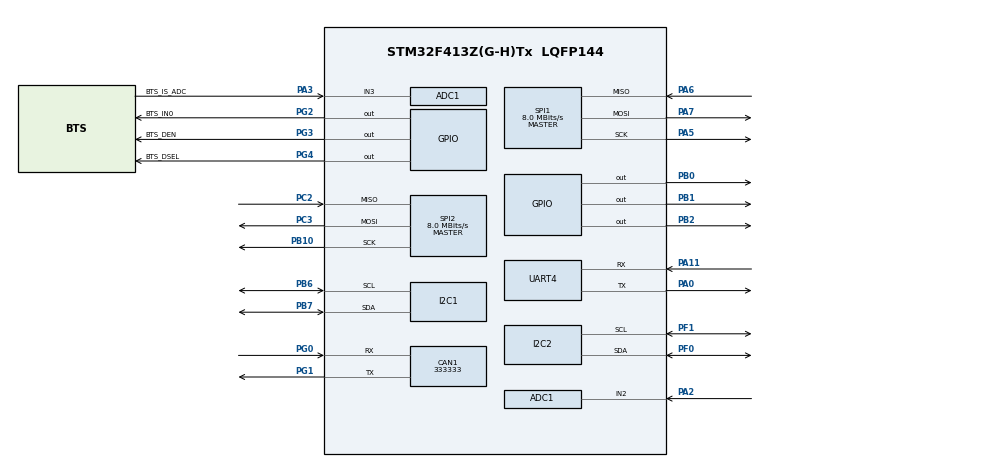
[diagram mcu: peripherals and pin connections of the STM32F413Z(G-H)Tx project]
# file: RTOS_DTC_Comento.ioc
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ADC1.Channel-2\#ChannelRegularConversion=ADC_CHANNEL_2
ADC1.Channel-3\#ChannelRegularConversion=ADC_CHANNEL_3
ADC1.NbrOfConversion=2
ADC1.NbrOfConversionFlag=1
ADC1.Rank-2\#ChannelRegularConversion=1
ADC1.Rank-3\#ChannelRegularConversion=2
ADC1.SamplingTime-2\#ChannelRegularConversion=ADC_SAMPLETIME_3CYCLES
ADC1.SamplingTime-3\#ChannelRegularConversion=ADC_SAMPLETIME_3CYCLES
ADC1.master=1
CAN1.CalculateBaudRate=333333
CAN1.CalculateTimeBit=3000
CAN1.CalculateTimeQuantum=1000.0
Dma.I2C1_RX.0.Direction=DMA_PERIPH_TO_MEMORY
Dma.I2C1_RX.0.FIFOMode=DMA_FIFOMODE_DISABLE
Dma.I2C1_RX.0.Instance=DMA1_Stream0
Dma.I2C1_RX.0.MemDataAlignment=DMA_MDATAALIGN_BYTE
Dma.I2C1_RX.0.MemInc=DMA_MINC_ENABLE
Dma.I2C1_RX.0.Mode=DMA_NORMAL
Dma.I2C1_RX.0.PeriphDataAlignment=DMA_PDATAALIGN_BYTE
Dma.I2C1_RX.0.PeriphInc=DMA_PINC_DISABLE
Dma.I2C1_RX.0.Priority=DMA_PRIORITY_MEDIUM
Dma.I2C1_TX.1.Direction=DMA_MEMORY_TO_PERIPH
Dma.I2C1_TX.1.FIFOMode=DMA_FIFOMODE_DISABLE
Dma.I2C1_TX.1.Instance=DMA1_Stream6
Dma.I2C1_TX.1.MemDataAlignment=DMA_MDATAALIGN_BYTE
Dma.I2C1_TX.1.MemInc=DMA_MINC_ENABLE
Dma.I2C1_TX.1.Mode=DMA_NORMAL
Dma.I2C1_TX.1.PeriphDataAlignment=DMA_PDATAALIGN_BYTE
Dma.I2C1_TX.1.PeriphInc=DMA_PINC_DISABLE
Dma.I2C1_TX.1.Priority=DMA_PRIORITY_MEDIUM
Dma.I2C2_RX.2.Direction=DMA_PERIPH_TO_MEMORY
Dma.I2C2_RX.2.FIFOMode=DMA_FIFOMODE_DISABLE
Dma.I2C2_RX.2.Instance=DMA1_Stream2
Dma.I2C2_RX.2.MemDataAlignment=DMA_MDATAALIGN_BYTE
Dma.I2C2_RX.2.MemInc=DMA_MINC_ENABLE
Dma.I2C2_RX.2.Mode=DMA_NORMAL
Dma.I2C2_RX.2.PeriphDataAlignment=DMA_PDATAALIGN_BYTE
Dma.I2C2_RX.2.PeriphInc=DMA_PINC_DISABLE
Dma.I2C2_RX.2.Priority=DMA_PRIORITY_LOW
Dma.I2C2_TX.3.Direction=DMA_MEMORY_TO_PERIPH
Dma.I2C2_TX.3.FIFOMode=DMA_FIFOMODE_DISABLE
Dma.I2C2_TX.3.Instance=DMA1_Stream7
Dma.I2C2_TX.3.MemDataAlignment=DMA_MDATAALIGN_BYTE
Dma.I2C2_TX.3.MemInc=DMA_MINC_ENABLE
Dma.I2C2_TX.3.Mode=DMA_NORMAL
Dma.I2C2_TX.3.PeriphDataAlignment=DMA_PDATAALIGN_BYTE
Dma.I2C2_TX.3.PeriphInc=DMA_PINC_DISABLE
Dma.I2C2_TX.3.Priority=DMA_PRIORITY_LOW
Dma.Request0=I2C1_RX
Dma.Request1=I2C1_TX
Dma.Request2=I2C2_RX
Dma.Request3=I2C2_TX
Dma.Request4=SPI1_RX
Dma.Request5=SPI1_TX
Dma.Request6=SPI2_RX
Dma.Request7=SPI2_TX
Dma.SPI1_RX.4.Direction=DMA_PERIPH_TO_MEMORY
Dma.SPI1_RX.4.FIFOMode=DMA_FIFOMODE_DISABLE
Dma.SPI1_RX.4.Instance=DMA2_Stream0
Dma.SPI1_RX.4.MemDataAlignment=DMA_MDATAALIGN_BYTE
Dma.SPI1_RX.4.MemInc=DMA_MINC_ENABLE
Dma.SPI1_RX.4.Mode=DMA_NORMAL
Dma.SPI1_RX.4.PeriphDataAlignment=DMA_PDATAALIGN_BYTE
Dma.SPI1_RX.4.PeriphInc=DMA_PINC_DISABLE
Dma.SPI1_RX.4.Priority=DMA_PRIORITY_LOW
Dma.SPI1_TX.5.Direction=DMA_MEMORY_TO_PERIPH
Dma.SPI1_TX.5.FIFOMode=DMA_FIFOMODE_DISABLE
Dma.SPI1_TX.5.Instance=DMA2_Stream3
Dma.SPI1_TX.5.MemDataAlignment=DMA_MDATAALIGN_BYTE
Dma.SPI1_TX.5.MemInc=DMA_MINC_ENABLE
Dma.SPI1_TX.5.Mode=DMA_NORMAL
Dma.SPI1_TX.5.PeriphDataAlignment=DMA_PDATAALIGN_BYTE
Dma.SPI1_TX.5.PeriphInc=DMA_PINC_DISABLE
Dma.SPI1_TX.5.Priority=DMA_PRIORITY_LOW
Dma.SPI2_RX.6.Direction=DMA_PERIPH_TO_MEMORY
Dma.SPI2_RX.6.FIFOMode=DMA_FIFOMODE_DISABLE
Dma.SPI2_RX.6.Instance=DMA1_Stream3
Dma.SPI2_RX.6.MemDataAlignment=DMA_MDATAALIGN_BYTE
Dma.SPI2_RX.6.MemInc=DMA_MINC_ENABLE
Dma.SPI2_RX.6.Mode=DMA_NORMAL
Dma.SPI2_RX.6.PeriphDataAlignment=DMA_PDATAALIGN_BYTE
Dma.SPI2_RX.6.PeriphInc=DMA_PINC_DISABLE
Dma.SPI2_RX.6.Priority=DMA_PRIORITY_LOW
Dma.SPI2_TX.7.Direction=DMA_MEMORY_TO_PERIPH
Dma.SPI2_TX.7.FIFOMode=DMA_FIFOMODE_DISABLE
Dma.SPI2_TX.7.Instance=DMA1_Stream4
Dma.SPI2_TX.7.MemDataAlignment=DMA_MDATAALIGN_BYTE
Dma.SPI2_TX.7.MemInc=DMA_MINC_ENABLE
Dma.SPI2_TX.7.Mode=DMA_NORMAL
Dma.SPI2_TX.7.PeriphDataAlignment=DMA_PDATAALIGN_BYTE
Dma.SPI2_TX.7.PeriphInc=DMA_PINC_DISABLE
Dma.SPI2_TX.7.Priority=DMA_PRIORITY_LOW
FREERTOS.Tasks01=Task_1ms,32,256,StartTask_1ms,Default,NULL,Dynamic,NULL,NULL;Task_5ms,24,256,StartTask_5ms,Default,NULL,Dynamic,NULL,NULL
FREERTOS.configUSE_NEWLIB_REENTRANT=1
Mcu.Family=STM32F4
Mcu.Name=STM32F413Z(G-H)Tx
Mcu.Package=LQFP144
NVIC.CAN1_RX0_IRQn=true\:5\:0\:false\:false\:true\:true\:true\:true\:true
NVIC.CAN1_TX_IRQn=true\:5\:0\:false\:false\:true\:true\:true\:true\:true
NVIC.DMA1_Stream0_IRQn=true\:5\:0\:false\:false\:true\:true\:false\:true\:true
NVIC.DMA1_Stream2_IRQn=true\:5\:0\:false\:false\:true\:true\:false\:true\:true
NVIC.DMA1_Stream3_IRQn=true\:5\:0\:false\:false\:true\:true\:false\:true\:true
NVIC.DMA1_Stream4_IRQn=true\:5\:0\:false\:false\:true\:true\:false\:true\:true
NVIC.DMA1_Stream6_IRQn=true\:5\:0\:false\:false\:true\:true\:false\:true\:true
NVIC.DMA1_Stream7_IRQn=true\:5\:0\:false\:false\:true\:true\:false\:true\:true
NVIC.DMA2_Stream0_IRQn=true\:5\:0\:false\:false\:true\:true\:false\:true\:true
NVIC.DMA2_Stream3_IRQn=true\:5\:0\:false\:false\:true\:true\:false\:true\:true
NVIC.I2C1_ER_IRQn=true\:5\:0\:false\:false\:true\:true\:true\:true\:true
NVIC.I2C1_EV_IRQn=true\:5\:0\:false\:false\:true\:true\:true\:true\:true
NVIC.I2C2_EV_IRQn=true\:5\:0\:false\:false\:true\:true\:true\:true\:true
NVIC.PriorityGroup=NVIC_PRIORITYGROUP_4
NVIC.SPI1_IRQn=true\:5\:0\:false\:false\:true\:true\:true\:true\:true
NVIC.SPI2_IRQn=true\:5\:0\:false\:false\:true\:true\:true\:true\:true
NVIC.TIM6_DAC_IRQn=true\:15\:0\:false\:false\:true\:false\:false\:true\:true
NVIC.TimeBase=TIM6_DAC_IRQn
NVIC.TimeBaseIP=TIM6
NVIC.UART4_IRQn=true\:5\:0\:false\:false\:true\:true\:true\:true\:true
PA0.Mode=Asynchronous
PA0.Signal=UART4_TX
PA11.Mode=Asynchronous
PA11.Signal=UART4_RX
PA2.Signal=ADCx_IN2
PA3.GPIO_Label=BTS_IS_ADC
PA3.Signal=ADCx_IN3
PA5.Mode=Full_Duplex_Master
PA5.Signal=SPI1_SCK
PA6.Mode=Full_Duplex_Master
PA6.Signal=SPI1_MISO
PA7.Mode=Full_Duplex_Master
PA7.Signal=SPI1_MOSI
PB0.GPIO_Speed=GPIO_SPEED_FREQ_MEDIUM
PB0.PinState=GPIO_PIN_SET
PB0.Signal=GPIO_Output
PB1.GPIO_Speed=GPIO_SPEED_FREQ_MEDIUM
PB1.PinState=GPIO_PIN_SET
PB1.Signal=GPIO_Output
PB10.Mode=Full_Duplex_Master
PB10.Signal=SPI2_SCK
PB2.GPIO_ModeDefaultOutputPP=GPIO_MODE_OUTPUT_OD
PB2.GPIO_PuPd=GPIO_NOPULL
PB2.GPIO_Speed=GPIO_SPEED_FREQ_MEDIUM
PB2.PinState=GPIO_PIN_SET
PB2.Signal=GPIO_Output
PB6.Mode=I2C
PB6.Signal=I2C1_SCL
PB7.Mode=I2C
PB7.Signal=I2C1_SDA
PC2.Mode=Full_Duplex_Master
PC2.Signal=SPI2_MISO
PC3.Mode=Full_Duplex_Master
PC3.Signal=SPI2_MOSI
PF0.Mode=I2C
PF0.Signal=I2C2_SDA
PF1.Mode=I2C
PF1.Signal=I2C2_SCL
PG0.Mode=CAN_Activate
PG0.Signal=CAN1_RX
PG1.Mode=CAN_Activate
PG1.Signal=CAN1_TX
PG2.GPIO_Label=BTS_IN0
PG2.Signal=GPIO_Output
PG3.GPIO_Label=BTS_DEN
PG3.Signal=GPIO_Output
PG4.GPIO_Label=BTS_DSEL
PG4.Signal=GPIO_Output
ProjectManager.HeapSize=0x200
ProjectManager.StackSize=0x400
ProjectManager.TargetToolchain=STM32CubeIDE
RCC.CortexFreq_Value=16000000
RCC.USBFreq_Value=96000000
RCC.VCOOutputFreq_Value=192000000
SH.ADCx_IN2.0=ADC1_IN2,IN2
SH.ADCx_IN3.0=ADC1_IN3,IN3
SPI1.CalculateBaudRate=8.0 MBits/s
SPI1.Direction=SPI_DIRECTION_2LINES
SPI1.Mode=SPI_MODE_MASTER
SPI1.VirtualType=VM_MASTER
SPI2.CalculateBaudRate=8.0 MBits/s
SPI2.Direction=SPI_DIRECTION_2LINES
SPI2.Mode=SPI_MODE_MASTER
SPI2.VirtualType=VM_MASTER
UART4.VirtualMode=Asynchronous
VP_FREERTOS_VS_CMSIS_V2.Mode=CMSIS_V2
VP_SYS_VS_tim6.Mode=TIM6
board=custom

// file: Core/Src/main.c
/* USER CODE BEGIN Header */
/**
  ******************************************************************************
  * @file           : main.c
  * @brief          : Main program body
  ******************************************************************************
  * @attention
  *
  * <h2><center>&copy; Copyright (c) 2025 STMicroelectronics.
  * All rights reserved.</center></h2>
  *
  * This software component is licensed by ST under BSD 3-Clause license,
  * the "License"; You may not use this file except in compliance with the
  * License. You may obtain a copy of the License at:
  *                        opensource.org/licenses/BSD-3-Clause
  *
  ******************************************************************************
  */

/* USER CODE END Header */
#include "main.h"
#include "cmsis_os.h"

/* USER CODE BEGIN Includes */
#include <string.h>
#include "PMIC.h"
#include "DTC.h"
#include "EEPROM.h"
#include "OBD2UDS.h"
#include "TestCase.h"
/* USER CODE END Includes */

/* USER CODE BEGIN PD */
#define PMIC_CH1_UVLO_ADC  1117U  /* 0.9V, 3.3V 기준 */
#define PMIC_CH1_OV_ADC    1365U  /* 1.1V */

/* USER CODE END PD */

/* USER CODE BEGIN PM */

//#define CAN_Q_SIZE 8
/* USER CODE END PM */

ADC_HandleTypeDef hadc1;

CAN_HandleTypeDef hcan1;

I2C_HandleTypeDef hi2c1;
I2C_HandleTypeDef hi2c2;
DMA_HandleTypeDef hdma_i2c1_rx;
DMA_HandleTypeDef hdma_i2c1_tx;
DMA_HandleTypeDef hdma_i2c2_rx;
DMA_HandleTypeDef hdma_i2c2_tx;

SPI_HandleTypeDef hspi1;
SPI_HandleTypeDef hspi2;
DMA_HandleTypeDef hdma_spi1_rx;
DMA_HandleTypeDef hdma_spi1_tx;
DMA_HandleTypeDef hdma_spi2_rx;
DMA_HandleTypeDef hdma_spi2_tx;

UART_HandleTypeDef huart4;

/* Definitions for defaultTask */
osThreadId_t defaultTaskHandle;
const osThreadAttr_t defaultTask_attributes = {
  .name = "defaultTask",
  .stack_size = 128 * 4,
  .priority = (osPriority_t) osPriorityNormal,
};
/* USER CODE BEGIN PV */
osMutexId_t CommMutexHandle;
const osMutexAttr_t CommMutex_attributes = {
  .name = "CommMutex"
};
osThreadId_t Task_1msHandle;
const osThreadAttr_t Task_1ms_attributes = {
  .name = "Task_1ms",
  .stack_size = 256 * 4,
  .priority = (osPriority_t) osPriorityAboveNormal,
};
osThreadId_t Task_5msHandle;
const osThreadAttr_t Task_5ms_attributes = {
  .name = "Task_5ms",
  .stack_size = 256 * 4,
  .priority = (osPriority_t) osPriorityNormal,
};

osSemaphoreId_t spiDoneHandle;
osSemaphoreId_t i2cDoneHandle;
const osSemaphoreAttr_t spiDone_attributes = { .name = "spiDone" };
const osSemaphoreAttr_t i2cDone_attributes = { .name = "i2cDone" };

/* USER CODE END PV */

void SystemClock_Config(void);
static void MX_GPIO_Init(void);
static void MX_DMA_Init(void);
static void MX_ADC1_Init(void);
static void MX_CAN1_Init(void);
static void MX_I2C1_Init(void);
static void MX_I2C2_Init(void);
static void MX_SPI1_Init(void);
static void MX_SPI2_Init(void);
static void MX_UART4_Init(void);
void StartDefaultTask(void *argument);
void StartTask_1ms(void *argument);
void StartTask_5ms(void *argument);

int main(void)
{

  /* MCU Configuration--------------------------------------------------------*/

  /* Reset of all peripherals, Initializes the Flash interface and the Systick. */
  HAL_Init();

  /* Configure the system clock */
  SystemClock_Config();

  /* Initialize all configured peripherals */
  MX_GPIO_Init();
  MX_DMA_Init();
  MX_ADC1_Init();
  MX_CAN1_Init();
  MX_I2C1_Init();
  MX_I2C2_Init();
  MX_SPI1_Init();
  MX_SPI2_Init();
  MX_UART4_Init();
  /* USER CODE BEGIN 2 */

  //CAN 인터럽트 시작
  HAL_CAN_Start(&hcan1);
  HAL_CAN_ActivateNotification(&hcan1, CAN_IT_RX_FIFO0_MSG_PENDING);

#if TEST_CASE
  TestCase_RunAll();
#else
  //전원이 꺼지기 전 EEPROM에 저장된 DTC 정보 읽기
  EEPROM_ReadDTC();
  dtclst[UVinDTC].DTC_Code = UV;
  dtclst[OVinDTC].DTC_Code = OV;
  dtclst[OCinDTC].DTC_Code = OC;
  dtclst[BRAKE_UVLOinDTC].DTC_Code = BRAKE_UVLO;
  if (dtclst[BRAKE_UVLOinDTC].active != 1) {
    dtclst[BRAKE_UVLOinDTC].active = 0;
  }
  //PMIC의 VREF 값 설정
  PMIC_Vref_Change(v_ref_set);
  /* USER CODE END 2 */

  /* Init scheduler */
  osKernelInitialize();
#endif
  /* USER CODE BEGIN RTOS_MUTEX */
  /* add mutexes, ... */
  CommMutexHandle = osMutexNew(&CommMutex_attributes);
  /* USER CODE END RTOS_MUTEX */

  /* USER CODE BEGIN RTOS_SEMAPHORES */
  /* add semaphores, ... */

  spiDoneHandle = osSemaphoreNew(1, 0, &spiDone_attributes);
  i2cDoneHandle = osSemaphoreNew(1, 0, &i2cDone_attributes);
  /* USER CODE END RTOS_SEMAPHORES */

  /* Create the thread(s) */
  /* creation of defaultTask */
  //defaultTaskHandle = osThreadNew(StartDefaultTask, NULL, &defaultTask_attributes);
  Task_1msHandle = osThreadNew(StartTask_1ms, NULL, &Task_1ms_attributes);
  Task_5msHandle = osThreadNew(StartTask_5ms, NULL, &Task_5ms_attributes);

  /* Start scheduler */
  osKernelStart();

  /* We should never get here as control is now taken by the scheduler */

  /* Infinite loop */
  /* USER CODE BEGIN WHILE */
	//msg1은 고장이 없을때 UART 출력, msg2는 고장이 있을때 UART 출력

  while (1)
  {

    /* USER CODE END WHILE */

  }
}

void SystemClock_Config(void)
{
  RCC_OscInitTypeDef RCC_OscInitStruct = {0};
  RCC_ClkInitTypeDef RCC_ClkInitStruct = {0};

  /** Configure the main internal regulator output voltage
  */
  __HAL_RCC_PWR_CLK_ENABLE();
  __HAL_PWR_VOLTAGESCALING_CONFIG(PWR_REGULATOR_VOLTAGE_SCALE1);

  /** Initializes the RCC Oscillators according to the specified parameters
  * in the RCC_OscInitTypeDef structure.
  */
  RCC_OscInitStruct.OscillatorType = RCC_OSCILLATORTYPE_HSI;
  RCC_OscInitStruct.HSIState = RCC_HSI_ON;
  RCC_OscInitStruct.HSICalibrationValue = RCC_HSICALIBRATION_DEFAULT;
  RCC_OscInitStruct.PLL.PLLState = RCC_PLL_NONE;
  if (HAL_RCC_OscConfig(&RCC_OscInitStruct) != HAL_OK)
  {
    Error_Handler();
  }

  /** Initializes the CPU, AHB and APB buses clocks
  */
  RCC_ClkInitStruct.ClockType = RCC_CLOCKTYPE_HCLK|RCC_CLOCKTYPE_SYSCLK
                              |RCC_CLOCKTYPE_PCLK1|RCC_CLOCKTYPE_PCLK2;
  RCC_ClkInitStruct.SYSCLKSource = RCC_SYSCLKSOURCE_HSI;
  RCC_ClkInitStruct.AHBCLKDivider = RCC_SYSCLK_DIV1;
  RCC_ClkInitStruct.APB1CLKDivider = RCC_HCLK_DIV1;
  RCC_ClkInitStruct.APB2CLKDivider = RCC_HCLK_DIV1;

  if (HAL_RCC_ClockConfig(&RCC_ClkInitStruct, FLASH_LATENCY_0) != HAL_OK)
  {
    Error_Handler();
  }
}

static void MX_ADC1_Init(void)
{

  ADC_ChannelConfTypeDef sConfig = {0};

  /** Configure the global features of the ADC (Clock, Resolution, Data Alignment and number of conversion)
  */
  hadc1.Instance = ADC1;
  hadc1.Init.ClockPrescaler = ADC_CLOCK_SYNC_PCLK_DIV2;
  hadc1.Init.Resolution = ADC_RESOLUTION_12B;
  hadc1.Init.ScanConvMode = DISABLE;
  hadc1.Init.ContinuousConvMode = DISABLE;
  hadc1.Init.DiscontinuousConvMode = DISABLE;
  hadc1.Init.ExternalTrigConvEdge = ADC_EXTERNALTRIGCONVEDGE_NONE;
  hadc1.Init.ExternalTrigConv = ADC_SOFTWARE_START;
  hadc1.Init.DataAlign = ADC_DATAALIGN_RIGHT;
  hadc1.Init.NbrOfConversion = 1;
  hadc1.Init.DMAContinuousRequests = DISABLE;
  hadc1.Init.EOCSelection = ADC_EOC_SINGLE_CONV;
  if (HAL_ADC_Init(&hadc1) != HAL_OK)
  {
    Error_Handler();
  }

  /** Configure for the selected ADC regular channel its corresponding rank in the sequencer and its sample time.
  */
  sConfig.Channel = ADC_CHANNEL_2;
  sConfig.Rank = 1;
  sConfig.SamplingTime = ADC_SAMPLETIME_3CYCLES;
  if (HAL_ADC_ConfigChannel(&hadc1, &sConfig) != HAL_OK)
  {
    Error_Handler();
  }

}

static void MX_CAN1_Init(void)
{

  hcan1.Instance = CAN1;
  hcan1.Init.Prescaler = 16;
  hcan1.Init.Mode = CAN_MODE_NORMAL;
  hcan1.Init.SyncJumpWidth = CAN_SJW_1TQ;
  hcan1.Init.TimeSeg1 = CAN_BS1_1TQ;
  hcan1.Init.TimeSeg2 = CAN_BS2_1TQ;
  hcan1.Init.TimeTriggeredMode = DISABLE;
  hcan1.Init.AutoBusOff = DISABLE;
  hcan1.Init.AutoWakeUp = DISABLE;
  hcan1.Init.AutoRetransmission = DISABLE;
  hcan1.Init.ReceiveFifoLocked = DISABLE;
  hcan1.Init.TransmitFifoPriority = DISABLE;
  if (HAL_CAN_Init(&hcan1) != HAL_OK)
  {
    Error_Handler();
  }
  /* USER CODE BEGIN CAN1_Init 2 */

  // 필터에 해당하는 메시지만 수신 하도록 초기화
  CAN_FilterTypeDef f = {0};
  f.FilterBank = 0;
  f.FilterMode = CAN_FILTERMODE_IDMASK;
  f.FilterScale = CAN_FILTERSCALE_32BIT;
  f.FilterIdHigh = 0x0000;
  f.FilterIdLow  = 0x0000;
  f.FilterMaskIdHigh = 0x0000;  /* 마스크 0 = 전부 통과 */
  f.FilterMaskIdLow  = 0x0000;
  f.FilterFIFOAssignment = CAN_RX_FIFO0;
  f.FilterActivation = ENABLE;
  f.SlaveStartFilterBank = 14;
  HAL_CAN_ConfigFilter(&hcan1, &f);
  /* USER CODE END CAN1_Init 2 */

}

static void MX_I2C1_Init(void)
{

  hi2c1.Instance = I2C1;
  hi2c1.Init.ClockSpeed = 100000;
  hi2c1.Init.DutyCycle = I2C_DUTYCYCLE_2;
  hi2c1.Init.OwnAddress1 = 0;
  hi2c1.Init.AddressingMode = I2C_ADDRESSINGMODE_7BIT;
  hi2c1.Init.DualAddressMode = I2C_DUALADDRESS_DISABLE;
  hi2c1.Init.OwnAddress2 = 0;
  hi2c1.Init.GeneralCallMode = I2C_GENERALCALL_DISABLE;
  hi2c1.Init.NoStretchMode = I2C_NOSTRETCH_DISABLE;
  if (HAL_I2C_Init(&hi2c1) != HAL_OK)
  {
    Error_Handler();
  }

}

static void MX_I2C2_Init(void)
{

  hi2c2.Instance = I2C2;
  hi2c2.Init.ClockSpeed = 100000;
  hi2c2.Init.DutyCycle = I2C_DUTYCYCLE_2;
  hi2c2.Init.OwnAddress1 = 0;
  hi2c2.Init.AddressingMode = I2C_ADDRESSINGMODE_7BIT;
  hi2c2.Init.DualAddressMode = I2C_DUALADDRESS_DISABLE;
  hi2c2.Init.OwnAddress2 = 0;
  hi2c2.Init.GeneralCallMode = I2C_GENERALCALL_DISABLE;
  hi2c2.Init.NoStretchMode = I2C_NOSTRETCH_DISABLE;
  if (HAL_I2C_Init(&hi2c2) != HAL_OK)
  {
    Error_Handler();
  }

}

static void MX_SPI1_Init(void)
{

  /* SPI1 parameter configuration*/
  hspi1.Instance = SPI1;
  hspi1.Init.Mode = SPI_MODE_MASTER;
  hspi1.Init.Direction = SPI_DIRECTION_2LINES;
  hspi1.Init.DataSize = SPI_DATASIZE_8BIT;
  hspi1.Init.CLKPolarity = SPI_POLARITY_LOW;
  hspi1.Init.CLKPhase = SPI_PHASE_1EDGE;
  hspi1.Init.NSS = SPI_NSS_SOFT;
  hspi1.Init.BaudRatePrescaler = SPI_BAUDRATEPRESCALER_2;
  hspi1.Init.FirstBit = SPI_FIRSTBIT_MSB;
  hspi1.Init.TIMode = SPI_TIMODE_DISABLE;
  hspi1.Init.CRCCalculation = SPI_CRCCALCULATION_DISABLE;
  hspi1.Init.CRCPolynomial = 10;
  if (HAL_SPI_Init(&hspi1) != HAL_OK)
  {
    Error_Handler();
  }

}

static void MX_SPI2_Init(void)
{

  /* SPI2 parameter configuration*/
  hspi2.Instance = SPI2;
  hspi2.Init.Mode = SPI_MODE_MASTER;
  hspi2.Init.Direction = SPI_DIRECTION_2LINES;
  hspi2.Init.DataSize = SPI_DATASIZE_8BIT;
  hspi2.Init.CLKPolarity = SPI_POLARITY_LOW;
  hspi2.Init.CLKPhase = SPI_PHASE_1EDGE;
  hspi2.Init.NSS = SPI_NSS_SOFT;
  hspi2.Init.BaudRatePrescaler = SPI_BAUDRATEPRESCALER_2;
  hspi2.Init.FirstBit = SPI_FIRSTBIT_MSB;
  hspi2.Init.TIMode = SPI_TIMODE_DISABLE;
  hspi2.Init.CRCCalculation = SPI_CRCCALCULATION_DISABLE;
  hspi2.Init.CRCPolynomial = 10;
  if (HAL_SPI_Init(&hspi2) != HAL_OK)
  {
    Error_Handler();
  }

}

static void MX_UART4_Init(void)
{

  huart4.Instance = UART4;
  huart4.Init.BaudRate = 115200;
  huart4.Init.WordLength = UART_WORDLENGTH_8B;
  huart4.Init.StopBits = UART_STOPBITS_1;
  huart4.Init.Parity = UART_PARITY_NONE;
  huart4.Init.Mode = UART_MODE_TX_RX;
  huart4.Init.HwFlowCtl = UART_HWCONTROL_NONE;
  huart4.Init.OverSampling = UART_OVERSAMPLING_16;
  if (HAL_UART_Init(&huart4) != HAL_OK)
  {
    Error_Handler();
  }

}

static void MX_DMA_Init(void)
{

  /* DMA controller clock enable */
  __HAL_RCC_DMA1_CLK_ENABLE();
  __HAL_RCC_DMA2_CLK_ENABLE();

  /* DMA interrupt init */
  /* DMA1_Stream0_IRQn interrupt configuration */
  HAL_NVIC_SetPriority(DMA1_Stream0_IRQn, 5, 0);
  HAL_NVIC_EnableIRQ(DMA1_Stream0_IRQn);
  /* DMA1_Stream2_IRQn interrupt configuration */
  HAL_NVIC_SetPriority(DMA1_Stream2_IRQn, 5, 0);
  HAL_NVIC_EnableIRQ(DMA1_Stream2_IRQn);
  /* DMA1_Stream3_IRQn interrupt configuration */
  HAL_NVIC_SetPriority(DMA1_Stream3_IRQn, 5, 0);
  HAL_NVIC_EnableIRQ(DMA1_Stream3_IRQn);
  /* DMA1_Stream4_IRQn interrupt configuration */
  HAL_NVIC_SetPriority(DMA1_Stream4_IRQn, 5, 0);
  HAL_NVIC_EnableIRQ(DMA1_Stream4_IRQn);
  /* DMA1_Stream6_IRQn interrupt configuration */
  HAL_NVIC_SetPriority(DMA1_Stream6_IRQn, 5, 0);
  HAL_NVIC_EnableIRQ(DMA1_Stream6_IRQn);
  /* DMA1_Stream7_IRQn interrupt configuration */
  HAL_NVIC_SetPriority(DMA1_Stream7_IRQn, 5, 0);
  HAL_NVIC_EnableIRQ(DMA1_Stream7_IRQn);
  /* DMA2_Stream0_IRQn interrupt configuration */
  HAL_NVIC_SetPriority(DMA2_Stream0_IRQn, 5, 0);
  HAL_NVIC_EnableIRQ(DMA2_Stream0_IRQn);
  /* DMA2_Stream3_IRQn interrupt configuration */
  HAL_NVIC_SetPriority(DMA2_Stream3_IRQn, 5, 0);
  HAL_NVIC_EnableIRQ(DMA2_Stream3_IRQn);

}

static void MX_GPIO_Init(void)
{
  GPIO_InitTypeDef GPIO_InitStruct = {0};

  /* GPIO Ports Clock Enable */
  __HAL_RCC_GPIOF_CLK_ENABLE();
  __HAL_RCC_GPIOC_CLK_ENABLE();
  __HAL_RCC_GPIOA_CLK_ENABLE();
  __HAL_RCC_GPIOB_CLK_ENABLE();
  __HAL_RCC_GPIOG_CLK_ENABLE();

  /*Configure GPIO pin Output Level */
  HAL_GPIO_WritePin(GPIOB, GPIO_PIN_0|GPIO_PIN_1|GPIO_PIN_2, GPIO_PIN_SET);

  /*Configure GPIO pins : PB0 PB1 */
  GPIO_InitStruct.Pin = GPIO_PIN_0|GPIO_PIN_1;
  GPIO_InitStruct.Mode = GPIO_MODE_OUTPUT_PP;
  GPIO_InitStruct.Pull = GPIO_NOPULL;
  GPIO_InitStruct.Speed = GPIO_SPEED_FREQ_MEDIUM;
  HAL_GPIO_Init(GPIOB, &GPIO_InitStruct);

  /*Configure GPIO pin : PB2 */
  GPIO_InitStruct.Pin = GPIO_PIN_2;
  GPIO_InitStruct.Mode = GPIO_MODE_OUTPUT_OD;
  GPIO_InitStruct.Pull = GPIO_NOPULL;
  GPIO_InitStruct.Speed = GPIO_SPEED_FREQ_MEDIUM;
  HAL_GPIO_Init(GPIOB, &GPIO_InitStruct);

}

/* USER CODE BEGIN 4 */

//I2C 수신 콜백(i2cDoneHandle 세마포어 해제)
void HAL_I2C_MemRxCpltCallback(I2C_HandleTypeDef *hi2c)
{
  if (hi2c->Instance == I2C1) {
    osSemaphoreRelease(i2cDoneHandle);
  }
}
//I2C 송신 콜백(i2cDoneHandle 세마포어 해제)
void HAL_SPI_TxCpltCallback(SPI_HandleTypeDef *hspi)
{
  if (hspi->Instance == SPI1) {
    osSemaphoreRelease(spiDoneHandle);
  }
}
//SPI 수신 콜백(spiDoneHandle 세마포어 해제)
void HAL_SPI_RxCpltCallback(SPI_HandleTypeDef *hspi)
{
  if (hspi->Instance == SPI1) {
      osSemaphoreRelease(spiDoneHandle);
  }
}
//CAN 수신 콜백(FIFO로부터 data 변수에 payload 저장 후 can_rx_flag = 1 초기화
void HAL_CAN_RxFifo0MsgPendingCallback(CAN_HandleTypeDef *hcan)
{
  CAN_RxHeaderTypeDef hdr;

  if(HAL_CAN_GetRxMessage(hcan, CAN_RX_FIFO0, &hdr, data.raw) == HAL_OK){
    can_rx_flag = 1;
  }
}
void StartTask_1ms(void *argument)
{
  TickType_t xLastWakeTime = xTaskGetTickCount();
  for (;;)
  {
    // 1ms 주기 태스크
    vTaskDelayUntil(&xLastWakeTime, pdMS_TO_TICKS(1));
    // CommMutexHandle 세마포어 획득
    if (osMutexAcquire(CommMutexHandle, pdMS_TO_TICKS(1)) == osOK)
    {
      // PMIC 레지스터 버퍼로부터 DTC로 변환
      PMIC_Read_Fault();
      DTCProcessFault();
      // CAN 인터럽트가 있다면 UDS 프로토콜을 통해 데이터 처리
      if (can_rx_flag) {
        can_rx_flag = 0;
        Process_CAN_Response(data);
      }
      // CommMutexHandle 세마포어 해제
      osMutexRelease(CommMutexHandle);
    }
  }
}
void StartTask_5ms(void *argument)
{
  TickType_t xLastWakeTime = xTaskGetTickCount();
  // 정상/오류 메시지 버퍼
  const char msg1[] = "ECU System Running\r\n";
  const char msg2[] = "ECU System Went Wrong\r\n";

  for (;;)
  {
    // 5ms 주기 태스크
    vTaskDelayUntil(&xLastWakeTime, pdMS_TO_TICKS(5));
    // CommMutexHandle 세마포어 획득
    if (osMutexAcquire(CommMutexHandle, pdMS_TO_TICKS(5)) == osOK)
    {
      // ADC 시작
      HAL_ADC_Start(&hadc1);
      // PMIC 레지스터 버퍼로부터 DTC로 변환
      if (HAL_ADC_PollForConversion(&hadc1, 1) == HAL_OK) {
          uint16_t adc_val = HAL_ADC_GetValue(&hadc1);
          // UVLO 혹은 OV 고장이 있다면 EEPROM에 DTC를 WRITE
          if ((adc_val < PMIC_CH1_UVLO_ADC) || (adc_val > PMIC_CH1_OV_ADC)) {
              if (dtclst[BRAKE_UVLOinDTC].active == 0) {
                  dtclst[BRAKE_UVLOinDTC].active = 1;
                  EEPROM_WriteDTC();
              }
          }
      }
      // ADC 중지
      HAL_ADC_Stop(&hadc1);
      // 고장 개수 카운트
      int err_count = 0;
      // 고장 개수만큼 에러 메시지 출력
      for (int i = 0; i < MAX_DTC_NUM; i++) {
        if (dtclst[i].active == 1) {
          HAL_UART_Transmit(&huart4, (uint8_t *)msg2, strlen(msg2), HAL_MAX_DELAY);
          err_count++;
        }
      }
      // 고장이 없으면 정상 메시지 출력
      if (err_count == 0) {
        HAL_UART_Transmit(&huart4, (uint8_t *)msg1, strlen(msg1), HAL_MAX_DELAY);
      }
      // CommMutexHandle 세마포어 해제
      osMutexRelease(CommMutexHandle);
    }
  }
}

/* USER CODE END 4 */

void StartDefaultTask(void *argument)
{
  /* USER CODE BEGIN 5 */
  const char msg1[] = "ECU System Running\r\n";
  const char msg2[] = "ECU System Went Wrong\r\n";
  /* Infinite loop */
  for(;;)
  {
    	//I2C DMA INTERRUPT 방식으로 UV 혹은 OV 혹은 OC 여부 READ
	PMIC_Read_Fault();

	//만일 UV 혹은 OV 가 있다면 EEPROM에 DTC를 WRITE
	DTCProcessFault();

	// CAN INTERRUPT 방식으로 UDS / OBD 메시지 송수신
	if (can_rx_flag) {
	  can_rx_flag = 0;
	  Process_CAN_Response(data);
	}

	// uart 폴링 방식으로 메시지 출력. 고장이 있으면 고장 개수만큼 에러 메시지 출력. 고장이 없으면 정상 메시지 출력
	int err_count = 0;
	for(int i = 0; i < MAX_DTC_NUM; i++){
		if(dtclst[i].active == 1){
			HAL_UART_Transmit(&huart4, (uint8_t*)msg2, strlen(msg2), HAL_MAX_DELAY);
			err_count++;
		}
	}
	if(err_count == 0){
		HAL_UART_Transmit(&huart4, (uint8_t*)msg1, strlen(msg1), HAL_MAX_DELAY);
	}
    osDelay(10);
  }
  /* USER CODE END 5 */
}

void HAL_TIM_PeriodElapsedCallback(TIM_HandleTypeDef *htim)
{
  if (htim->Instance == TIM6)
  {
    HAL_IncTick();
  }
}

void Error_Handler(void)
{
  __disable_irq();
  while (1)
  {
  }
}
